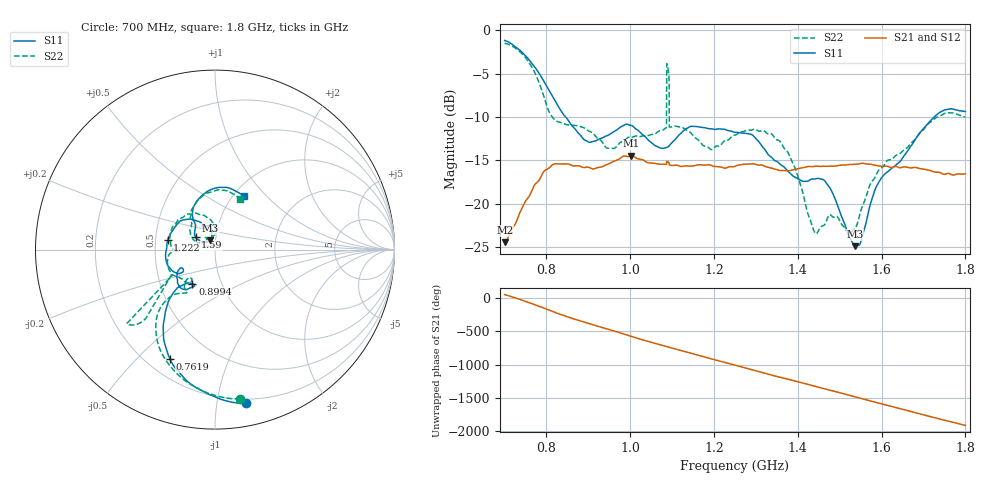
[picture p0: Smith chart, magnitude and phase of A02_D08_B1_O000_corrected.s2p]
! Created with skrf 1.9.0 (http://scikit-rf.org).
# Hz S RI R 50.0
!freq ReS11 ImS11 ReS21 ImS21 ReS12 ImS12 ReS22 ImS22
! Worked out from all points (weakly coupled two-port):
!   1601 points, 700 MHz to 1.8 GHz, reference 50 ohm
!   highest |S21| = -14.48 dB at 1.002 GHz (marker M1); lowest = -24.5 dB at 700.7 MHz (marker M2)
!   lowest |S11| = -24.9 dB at 1.537 GHz (marker M3), VSWR 1.12, Z = 47.3 + j4.82 ohm
!   |S11| at or under -10 dB: 845.5 MHz to 1.726 GHz (880.2 MHz wide, 68.5 % of centre)
!   |S22| runs from -23.6 to -1.5 dB; largest |S21 - S12| = 0.0038
!   S11 on the Smith chart (normalised r, x): 700 MHz: 0.17, -1.21; 761.9 MHz: 0.29, -0.63; 899.4 MHz: 0.73, -0.29; 1.222 GHz: 0.58, +0.07; 1.59 GHz: 0.80, +0.11; 1.8 GHz: 1.12, +0.75
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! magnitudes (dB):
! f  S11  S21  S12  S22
! 700 MHz  -1.2  -24.5  -24.2  -1.5
! 700.7 MHz  -1.2  -24.5  -24.2  -1.5
! 761.9 MHz  -3.6  -18.8  -18.8  -4.0
! 816.2 MHz  -7.7  -15.5  -15.6  -10.2
! 883.6 MHz  -12.3  -15.8  -15.7  -11.2
! 899.4 MHz  -12.9  -15.8  -15.8  -11.6
! 1.002 GHz  -11.0  -14.5  -14.6  -12.3
! 1.067 GHz  -13.5  -15.4  -15.4  -11.7
! 1.081 GHz  -13.6  -15.5  -15.5  -11.4
! 1.087 GHz  -13.5  -15.1  -15.1  -3.8
! 1.093 GHz  -13.3  -15.3  -15.3  -5.3
! 1.099 GHz  -13.0  -15.6  -15.6  -11.2
! 1.222 GHz  -11.4  -15.9  -15.9  -12.9
! 1.25 GHz  -11.8  -15.7  -15.6  -12.1
! 1.358 GHz  -15.5  -16.2  -16.1  -12.9
! 1.434 GHz  -17.2  -15.7  -15.7  -22.5
! 1.476 GHz  -18.1  -15.7  -15.7  -21.3
! 1.537 GHz  -24.9  -15.5  -15.5  -22.9
! 1.59 GHz  -17.8  -15.6  -15.6  -16.4
! 1.617 GHz  -16.2  -15.7  -15.7  -15.0
! 1.734 GHz  -9.6  -16.4  -16.4  -10.0
! 1.8 GHz  -9.4  -16.6  -16.6  -10.0
